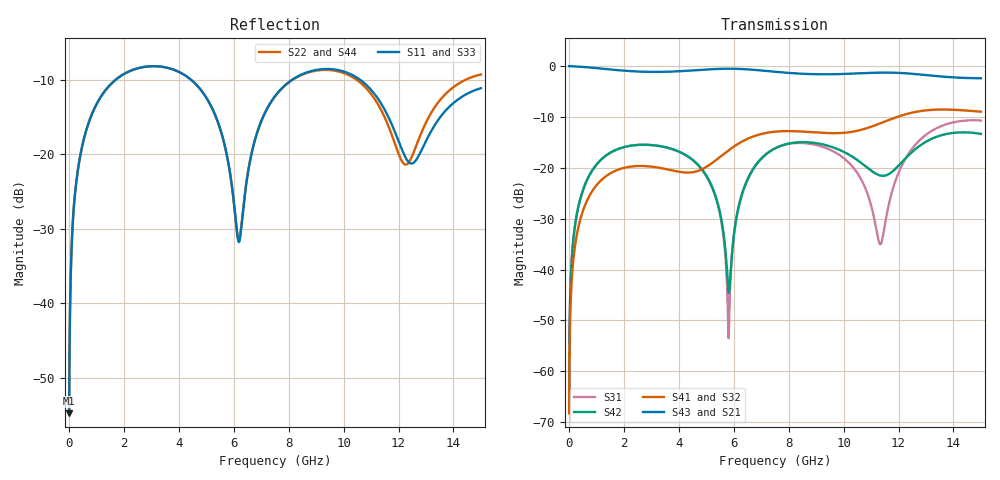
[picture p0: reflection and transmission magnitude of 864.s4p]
! Created with skrf 1.8.0 (http://scikit-rf.org).
# GHz S RI R 50.0
!freq ReS11 ImS11 ReS12 ImS12 ReS13 ImS13
! ReS14 ImS14
! ReS21 ImS21 ReS22 ImS22 ReS23 ImS23
! ReS24 ImS24
! ReS31 ImS31 ReS32 ImS32 ReS33 ImS33
! ReS34 ImS34
! ReS41 ImS41 ReS42 ImS42 ReS43 ImS43
! ReS44 ImS44
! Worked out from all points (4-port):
!   2499 points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, 5 MHz to 15 GHz, reference 50 ohm
!   strongest paths, dB at 5 MHz, 3.476 GHz, 7.19 GHz, 11.1 GHz, 15 GHz:
!     S43: 0.0, -1.1, -1.0, -1.3, -2.4
!     S21: 0.0, -1.1, -0.9, -1.3, -2.4
!     S41: -68.3, -20.2, -13.1, -11.7, -9.0
!     S32: -68.3, -20.2, -13.1, -11.7, -9.0
!     S42: -64.2, -15.9, -17.3, -20.9, -13.3
!     S31: -64.2, -15.9, -17.2, -29.6, -10.7
!   lowest |S11| = -54.8 dB at 5 MHz (marker M1), VSWR 1.00, Z = 50.1 + j0.11 ohm
!   |S11| at or under -10 dB: start of sweep to 1.709 GHz; 4.437 GHz to 8.138 GHz (3.702 GHz wide, 58.9 % of centre); 10.59 GHz to end of sweep
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0.005  0.00145 0.0011  0.9985 -0.00283  7.37e-05 0.000615  -7.14e-05 -0.000379
       0.9985 -0.00283  0.00145 0.0011  -7.14e-05 -0.000379  7.37e-05 0.000615
       7.37e-05 0.000615  -7.14e-05 -0.000379  0.00145 0.0011  0.9985 -0.00283
       -7.14e-05 -0.000379  7.37e-05 0.000615  0.9985 -0.00283  0.00145 0.0011
0.3126303  0.0196 0.0729  0.9733 -0.1766  0.00933 0.0369  -0.00773 -0.0226
           0.9733 -0.1766  0.0196 0.0729  -0.00772 -0.0226  0.00935 0.0369
           0.00933 0.0369  -0.00772 -0.0226  0.0196 0.0729  0.9733 -0.1766
           -0.00773 -0.0226  0.00935 0.0369  0.9733 -0.1766  0.0196 0.0729
1.569404  0.2353 0.1862  0.6189 -0.6845  0.1225 0.0756  -0.0884 -0.0177
          0.6189 -0.6845  0.2353 0.1861  -0.0884 -0.0178  0.1227 0.0753
          0.1225 0.0756  -0.0884 -0.0178  0.2352 0.1861  0.619 -0.6845
          -0.0884 -0.0177  0.1227 0.0753  0.619 -0.6845  0.2352 0.1861
5.814923  0.039 -0.0755  -0.9074 -0.2549  -0.0021 0.000234  -0.0355 0.1446
          -0.9074 -0.2549  0.0395 -0.0748  -0.036 0.1445  -0.00589 -0.00108
          -0.0021 0.000234  -0.036 0.1445  0.0379 -0.0732  -0.9078 -0.2545
          -0.0355 0.1446  -0.00589 -0.00108  -0.9078 -0.2545  0.0391 -0.0723
6.827845  0.0734 0.1126  -0.8816 0.2454  0.0642 0.0884  0.0748 0.1946
          -0.8816 0.2454  0.075 0.1126  0.0742 0.1949  0.0623 0.0881
          0.0642 0.0884  0.0742 0.1949  0.0738 0.1156  -0.8812 0.2456
          0.0748 0.1946  0.0623 0.0881  -0.8812 0.2456  0.0762 0.1151
9.922885  0.3533 -0.0782  0.128 0.8269  0.0991 -0.0832  0.2041 -0.0825
          0.128 0.8269  0.3452 -0.0772  0.2043 -0.0815  0.0911 -0.1155
          0.0991 -0.0832  0.2043 -0.0815  0.3558 -0.077  0.1256 0.8265
          0.2041 -0.0825  0.0911 -0.1155  0.1256 0.8265  0.3473 -0.0771
15  0.2739 0.0401  0.3604 -0.6655  0.2839 -0.0664  -0.3467 -0.0829
    0.3604 -0.6655  0.341 0.0251  -0.3454 -0.0852  0.2128 0.0318
    0.2839 -0.0664  -0.3454 -0.0852  0.2683 0.0411  0.3676 -0.6643
    -0.3467 -0.0829  0.2128 0.0318  0.3676 -0.6643  0.3348 0.0241
